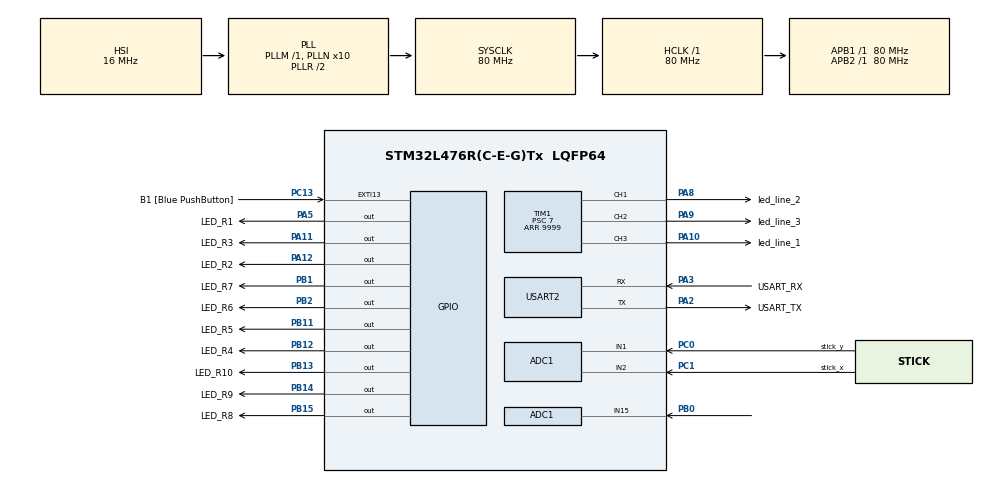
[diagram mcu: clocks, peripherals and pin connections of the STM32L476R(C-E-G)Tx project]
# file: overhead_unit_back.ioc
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ADC1.Channel-0\#ChannelRegularConversion=ADC_CHANNEL_1
ADC1.Channel-1\#ChannelRegularConversion=ADC_CHANNEL_2
ADC1.Channel-2\#ChannelRegularConversion=ADC_CHANNEL_15
ADC1.ClockPrescaler=ADC_CLOCK_ASYNC_DIV32
ADC1.ContinuousConvMode=ENABLE
ADC1.DMAContinuousRequests=ENABLE
ADC1.EOCSelection=ADC_EOC_SINGLE_CONV
ADC1.NbrOfConversion=3
ADC1.NbrOfConversionFlag=1
ADC1.OffsetNumber-0\#ChannelRegularConversion=ADC_OFFSET_NONE
ADC1.OffsetNumber-1\#ChannelRegularConversion=ADC_OFFSET_NONE
ADC1.OffsetNumber-2\#ChannelRegularConversion=ADC_OFFSET_NONE
ADC1.Overrun=ADC_OVR_DATA_OVERWRITTEN
ADC1.Rank-0\#ChannelRegularConversion=1
ADC1.Rank-1\#ChannelRegularConversion=2
ADC1.Rank-2\#ChannelRegularConversion=3
ADC1.SamplingTime-0\#ChannelRegularConversion=ADC_SAMPLETIME_47CYCLES_5
ADC1.SamplingTime-1\#ChannelRegularConversion=ADC_SAMPLETIME_47CYCLES_5
ADC1.SamplingTime-2\#ChannelRegularConversion=ADC_SAMPLETIME_47CYCLES_5
ADC1.master=1
Dma.ADC1.0.Direction=DMA_PERIPH_TO_MEMORY
Dma.ADC1.0.Instance=DMA1_Channel1
Dma.ADC1.0.MemDataAlignment=DMA_MDATAALIGN_HALFWORD
Dma.ADC1.0.MemInc=DMA_MINC_ENABLE
Dma.ADC1.0.Mode=DMA_CIRCULAR
Dma.ADC1.0.PeriphDataAlignment=DMA_PDATAALIGN_HALFWORD
Dma.ADC1.0.PeriphInc=DMA_PINC_DISABLE
Dma.ADC1.0.Priority=DMA_PRIORITY_MEDIUM
Dma.Request0=ADC1
Mcu.Family=STM32L4
Mcu.Name=STM32L476R(C-E-G)Tx
Mcu.Package=LQFP64
NVIC.DMA1_Channel1_IRQn=true\:0\:0\:false\:false\:true\:false\:true
NVIC.PriorityGroup=NVIC_PRIORITYGROUP_4
NVIC.TIM2_IRQn=true\:0\:0\:false\:false\:true\:true\:true
PA10.GPIO_Label=led_line_1
PA10.GPIO_Speed=GPIO_SPEED_FREQ_VERY_HIGH
PA10.Signal=S_TIM1_CH3
PA11.GPIO_Label=LED_R3
PA11.GPIO_Speed=GPIO_SPEED_FREQ_VERY_HIGH
PA11.Signal=GPIO_Output
PA12.GPIO_Label=LED_R2
PA12.GPIO_Speed=GPIO_SPEED_FREQ_VERY_HIGH
PA12.Signal=GPIO_Output
PA13\ (JTMS-SWDIO).GPIO_Label=TMS
PA13\ (JTMS-SWDIO).Mode=Serial_Wire
PA13\ (JTMS-SWDIO).Signal=SYS_JTMS-SWDIO
PA14\ (JTCK-SWCLK).GPIO_Label=TCK
PA14\ (JTCK-SWCLK).Mode=Serial_Wire
PA14\ (JTCK-SWCLK).Signal=SYS_JTCK-SWCLK
PA2.GPIO_Label=USART_TX
PA2.GPIO_Mode=GPIO_MODE_AF_PP
PA2.GPIO_PuPd=GPIO_NOPULL
PA2.GPIO_Speed=GPIO_SPEED_FREQ_VERY_HIGH
PA2.Mode=Asynchronous
PA2.Signal=USART2_TX
PA3.GPIO_Label=USART_RX
PA3.GPIO_Mode=GPIO_MODE_AF_PP
PA3.GPIO_PuPd=GPIO_NOPULL
PA3.GPIO_Speed=GPIO_SPEED_FREQ_VERY_HIGH
PA3.Mode=Asynchronous
PA3.Signal=USART2_RX
PA5.GPIO_Label=LED_R1
PA5.GPIO_Speed=GPIO_SPEED_FREQ_VERY_HIGH
PA5.Signal=GPIO_Output
PA8.GPIO_Label=led_line_2
PA8.GPIO_Speed=GPIO_SPEED_FREQ_VERY_HIGH
PA8.Signal=S_TIM1_CH1
PA9.GPIO_Label=led_line_3
PA9.GPIO_Speed=GPIO_SPEED_FREQ_VERY_HIGH
PA9.Signal=S_TIM1_CH2
PB0.Signal=ADCx_IN15
PB1.GPIO_Label=LED_R7
PB1.GPIO_Speed=GPIO_SPEED_FREQ_VERY_HIGH
PB1.Signal=GPIO_Output
PB11.GPIO_Label=LED_R5
PB11.GPIO_Speed=GPIO_SPEED_FREQ_VERY_HIGH
PB11.Signal=GPIO_Output
PB12.GPIO_Label=LED_R4
PB12.GPIO_Speed=GPIO_SPEED_FREQ_VERY_HIGH
PB12.Signal=GPIO_Output
PB13.GPIO_Label=LED_R10
PB13.GPIO_Speed=GPIO_SPEED_FREQ_VERY_HIGH
PB13.Signal=GPIO_Output
PB14.GPIO_Label=LED_R9
PB14.GPIO_Speed=GPIO_SPEED_FREQ_VERY_HIGH
PB14.Signal=GPIO_Output
PB15.GPIO_Label=LED_R8
PB15.GPIO_Speed=GPIO_SPEED_FREQ_VERY_HIGH
PB15.Signal=GPIO_Output
PB2.GPIO_Label=LED_R6
PB2.GPIO_Speed=GPIO_SPEED_FREQ_VERY_HIGH
PB2.Signal=GPIO_Output
PB3\ (JTDO-TRACESWO).GPIO_Label=SWO
PB3\ (JTDO-TRACESWO).Signal=SYS_JTDO-SWO
PC0.GPIO_Label=stick_y
PC0.Signal=ADCx_IN1
PC1.GPIO_Label=stick_x
PC1.Signal=ADCx_IN2
PC13.GPIO_Label=B1 [Blue PushButton]
PC13.GPIO_ModeDefaultEXTI=GPIO_MODE_IT_FALLING
PC13.GPIO_PuPd=GPIO_NOPULL
PC13.Signal=GPXTI13
PC14-OSC32_IN\ (PC14).Mode=LSE-External-Oscillator
PC14-OSC32_IN\ (PC14).Signal=RCC_OSC32_IN
PC15-OSC32_OUT\ (PC15).Mode=LSE-External-Oscillator
PC15-OSC32_OUT\ (PC15).Signal=RCC_OSC32_OUT
PH0-OSC_IN\ (PH0).Signal=RCC_OSC_IN
PH1-OSC_OUT\ (PH1).Signal=RCC_OSC_OUT
ProjectManager.HeapSize=0x200
ProjectManager.StackSize=0x400
ProjectManager.TargetToolchain=TrueSTUDIO
RCC.ADCFreq_Value=64000000
RCC.AHBFreq_Value=80000000
RCC.APB1Freq_Value=80000000
RCC.APB1TimFreq_Value=80000000
RCC.APB2Freq_Value=80000000
RCC.APB2TimFreq_Value=80000000
RCC.CortexFreq_Value=80000000
RCC.HCLKFreq_Value=80000000
RCC.HSE_VALUE=8000000
RCC.HSI_VALUE=16000000
RCC.MSI_VALUE=4000000
RCC.PLLN=10
RCC.PLLSourceVirtual=RCC_PLLSOURCE_HSI
RCC.PREFETCH_ENABLE=1
RCC.SYSCLKFreq_VALUE=80000000
RCC.SYSCLKSource=RCC_SYSCLKSOURCE_PLLCLK
RCC.USBFreq_Value=64000000
RCC.VCOOutputFreq_Value=160000000
SH.ADCx_IN1.0=ADC1_IN1,IN1-Single-Ended
SH.ADCx_IN15.0=ADC1_IN15,IN15-Single-Ended
SH.ADCx_IN2.0=ADC1_IN2,IN2-Single-Ended
SH.S_TIM1_CH1.0=TIM1_CH1,PWM Generation1 CH1
SH.S_TIM1_CH2.0=TIM1_CH2,PWM Generation2 CH2
SH.S_TIM1_CH3.0=TIM1_CH3,PWM Generation3 CH3
TIM1.Channel-PWM\ Generation1\ CH1=TIM_CHANNEL_1
TIM1.Channel-PWM\ Generation2\ CH2=TIM_CHANNEL_2
TIM1.Channel-PWM\ Generation3\ CH3=TIM_CHANNEL_3
TIM1.OCFastMode_PWM-PWM\ Generation2\ CH2=TIM_OCFAST_ENABLE
TIM1.OCFastMode_PWM-PWM\ Generation3\ CH3=TIM_OCFAST_ENABLE
TIM1.Period=9999
TIM1.Prescaler=7
TIM2.Period=999
TIM2.Prescaler=79
TIM2.TIM_MasterOutputTrigger=TIM_TRGO_UPDATE
USART2.VirtualMode-Asynchronous=VM_ASYNC
VP_TIM1_VS_ClockSourceINT.Mode=Internal
VP_TIM2_VS_ClockSourceINT.Mode=Internal
board=NUCLEO-L476RG

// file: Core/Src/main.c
/* USER CODE BEGIN Header */
/**
  ******************************************************************************
  * @file           : main.c
  * @brief          : Main program body
  ******************************************************************************
  * @attention
  *
  * <h2><center>&copy; Copyright (c) 2020 STMicroelectronics.
  * All rights reserved.</center></h2>
  *
  * This software component is licensed by ST under BSD 3-Clause license,
  * the "License"; You may not use this file except in compliance with the
  * License. You may obtain a copy of the License at:
  *                        opensource.org/licenses/BSD-3-Clause
  *
  ******************************************************************************
  */
/* USER CODE END Header */
#include "main.h"
#include "adc.h"
#include "dma.h"
#include "tim.h"
#include "usart.h"
#include "gpio.h"

/* USER CODE BEGIN Includes */
#include "math.h"
/* USER CODE END Includes */

/* USER CODE BEGIN PV */

uint16_t led_pins_array[] = {
		LED_R1_Pin, LED_R2_Pin, LED_R3_Pin, LED_R4_Pin, LED_R5_Pin,
		LED_R6_Pin, LED_R7_Pin, LED_R8_Pin, LED_R9_Pin, LED_R10_Pin
};

uint32_t led_gpios_array[] = {
		LED_R1_GPIO_Port, LED_R2_GPIO_Port, LED_R3_GPIO_Port,
		LED_R4_GPIO_Port, LED_R5_GPIO_Port, LED_R6_GPIO_Port,
		LED_R7_GPIO_Port, LED_R8_GPIO_Port, LED_R9_GPIO_Port, LED_R10_GPIO_Port

};

uint16_t calculation_matrix[3][10] = {
		{0, 0, 0, 0, 0, 0, 0, 0, 0, 0},
		{0, 0, 0, 0, 0, 0, 0, 0, 0, 0},
		{0, 0, 0, 0, 0, 0, 0, 0, 0, 0}
};

uint16_t led_matrix[3][10] = {
		{0, 0, 0, 0, 0, 0, 0, 0, 0, 0},
		{0, 0, 0, 0, 0, 0, 0, 0, 0, 0},
		{0, 0, 0, 0, 0, 0, 0, 0, 0, 0}
};

uint16_t adc_data[3] = {};

/* USER CODE END PV */

void SystemClock_Config(void);
/* USER CODE BEGIN PFP */

long map(long in_value, long in_min, long in_max, long out_min, long out_max);
void get_stick_position(uint16_t adc_x, uint16_t adc_y, uint8_t *pos_x, uint8_t *pos_y);
void get_led_spot_size(uint16_t adc_spot, float *led_spot_size);
void calculate_led_matrix(uint8_t pos_x, uint8_t pos_y, float spot_size);
void fill_new_matrix();

/* USER CODE END PFP */

int main(void)
{

  /* MCU Configuration--------------------------------------------------------*/

  /* Reset of all peripherals, Initializes the Flash interface and the Systick. */
  HAL_Init();

  /* Configure the system clock */
  SystemClock_Config();

  /* Initialize all configured peripherals */
  MX_GPIO_Init();
  MX_DMA_Init();
  MX_TIM1_Init();
  MX_TIM2_Init();
  MX_USART2_UART_Init();
  MX_ADC1_Init();
  /* USER CODE BEGIN 2 */

  HAL_TIM_Base_Start_IT(&htim2);

  HAL_TIM_PWM_Start(&htim1, TIM_CHANNEL_1);
  HAL_TIM_PWM_Start(&htim1, TIM_CHANNEL_2);
  HAL_TIM_PWM_Start(&htim1, TIM_CHANNEL_3);

  htim1.Instance->CCR1 = 0;
  htim1.Instance->CCR2 = 0;
  htim1.Instance->CCR3 = 0;

  HAL_ADC_Start_DMA(&hadc1, (uint32_t*) &adc_data, 3);

  HAL_Delay(200);

  for(int i = 0; i < 3; i++){
	  for(int j = 0; j < 10; j++){
		  led_matrix[i][j] = 9990;
		  HAL_Delay(10);
  		  led_matrix[i][j] = 0;
  		  HAL_Delay(10);
  	  }
  }

  /* USER CODE END 2 */

  /* Infinite loop */
  /* USER CODE BEGIN WHILE */
  while (1)
  {
	  uint8_t stick_x 	= 0;
	  uint8_t stick_y 	= 0;
	  float   spot_size = 0;

	  get_stick_position(adc_data[0], adc_data[1], &stick_x, &stick_y);

	  get_led_spot_size(adc_data[2], &spot_size);

	  calculate_led_matrix(stick_x, stick_y, spot_size);

	  HAL_Delay(2);

	  fill_new_matrix();

	  //htim1.Instance->CCR1 = 9990;
	  //htim1.Instance->CCR2 = 0;
	  //htim1.Instance->CCR3 = 9990;

    /* USER CODE END WHILE */

  }
}

void SystemClock_Config(void)
{
  RCC_OscInitTypeDef RCC_OscInitStruct = {0};
  RCC_ClkInitTypeDef RCC_ClkInitStruct = {0};
  RCC_PeriphCLKInitTypeDef PeriphClkInit = {0};

  /** Initializes the RCC Oscillators according to the specified parameters
  * in the RCC_OscInitTypeDef structure.
  */
  RCC_OscInitStruct.OscillatorType = RCC_OSCILLATORTYPE_HSI;
  RCC_OscInitStruct.HSIState = RCC_HSI_ON;
  RCC_OscInitStruct.HSICalibrationValue = RCC_HSICALIBRATION_DEFAULT;
  RCC_OscInitStruct.PLL.PLLState = RCC_PLL_ON;
  RCC_OscInitStruct.PLL.PLLSource = RCC_PLLSOURCE_HSI;
  RCC_OscInitStruct.PLL.PLLM = 1;
  RCC_OscInitStruct.PLL.PLLN = 10;
  RCC_OscInitStruct.PLL.PLLP = RCC_PLLP_DIV7;
  RCC_OscInitStruct.PLL.PLLQ = RCC_PLLQ_DIV2;
  RCC_OscInitStruct.PLL.PLLR = RCC_PLLR_DIV2;
  if (HAL_RCC_OscConfig(&RCC_OscInitStruct) != HAL_OK)
  {
    Error_Handler();
  }
  /** Initializes the CPU, AHB and APB buses clocks
  */
  RCC_ClkInitStruct.ClockType = RCC_CLOCKTYPE_HCLK|RCC_CLOCKTYPE_SYSCLK
                              |RCC_CLOCKTYPE_PCLK1|RCC_CLOCKTYPE_PCLK2;
  RCC_ClkInitStruct.SYSCLKSource = RCC_SYSCLKSOURCE_PLLCLK;
  RCC_ClkInitStruct.AHBCLKDivider = RCC_SYSCLK_DIV1;
  RCC_ClkInitStruct.APB1CLKDivider = RCC_HCLK_DIV1;
  RCC_ClkInitStruct.APB2CLKDivider = RCC_HCLK_DIV1;

  if (HAL_RCC_ClockConfig(&RCC_ClkInitStruct, FLASH_LATENCY_4) != HAL_OK)
  {
    Error_Handler();
  }
  PeriphClkInit.PeriphClockSelection = RCC_PERIPHCLK_USART2|RCC_PERIPHCLK_ADC;
  PeriphClkInit.Usart2ClockSelection = RCC_USART2CLKSOURCE_PCLK1;
  PeriphClkInit.AdcClockSelection = RCC_ADCCLKSOURCE_PLLSAI1;
  PeriphClkInit.PLLSAI1.PLLSAI1Source = RCC_PLLSOURCE_HSI;
  PeriphClkInit.PLLSAI1.PLLSAI1M = 1;
  PeriphClkInit.PLLSAI1.PLLSAI1N = 8;
  PeriphClkInit.PLLSAI1.PLLSAI1P = RCC_PLLP_DIV7;
  PeriphClkInit.PLLSAI1.PLLSAI1Q = RCC_PLLQ_DIV2;
  PeriphClkInit.PLLSAI1.PLLSAI1R = RCC_PLLR_DIV2;
  PeriphClkInit.PLLSAI1.PLLSAI1ClockOut = RCC_PLLSAI1_ADC1CLK;
  if (HAL_RCCEx_PeriphCLKConfig(&PeriphClkInit) != HAL_OK)
  {
    Error_Handler();
  }
  /** Configure the main internal regulator output voltage
  */
  if (HAL_PWREx_ControlVoltageScaling(PWR_REGULATOR_VOLTAGE_SCALE1) != HAL_OK)
  {
    Error_Handler();
  }
}

/* USER CODE BEGIN 4 */

long map(long in_value, long in_min, long in_max, long out_min, long out_max){

	return (in_value - in_min) * (out_max - out_min) / (in_max - in_min) + out_min;

}
//-------------------------

float map_float(long in_value, long in_min, long in_max, float out_min, float out_max){

	return (in_value - in_min) * (out_max - out_min) / (in_max - in_min) + out_min;

}
//-------------------------

void get_stick_position(uint16_t adc_x, uint16_t adc_y, uint8_t *pos_x, uint8_t *pos_y){

	*pos_x = map(adc_x, 0, 4095, 0, 10);
	//*pos_y = map(adc_y, 0, 4050, 0, 2);

	if(adc_y >= 2700) 	  				   *pos_y = 2;
	else if(adc_y < 2700 && adc_y >= 1350) *pos_y = 1;
	else 								   *pos_y = 0;
}
//-------------------------

void get_led_spot_size(uint16_t adc_spot, float *led_spot_size){

	*led_spot_size = map_float(adc_spot, 0, 4095, 0.1, 7);
}
//-------------------------

void calculate_led_matrix(uint8_t pos_x, uint8_t pos_y, float spot_size){

	#define led_diffusion 	1.8
	uint16_t led_max_bright = 9990; // (gets from TIM1 PWM value)
	uint8_t init_x = pos_x;
	uint8_t init_y = pos_y;

	uint16_t result = 0.0;
	uint8_t counter_x = 0;
	uint8_t counter_y = 0;

	// Left-to-right side (relatively to center)
	for(int i = init_x; i >= 0; i--){
		result = led_max_bright * exp(-counter_x*spot_size);
		calculation_matrix[0][i] = result;
		calculation_matrix[1][i] = result;
	    calculation_matrix[2][i] = result;
	    counter_x++;
	  }

	counter_x = 0;

	// Right-to-left side (relatively to center)
	for(uint8_t i = init_x; i <= 9; i++){
		result = led_max_bright * exp(-counter_x*spot_size);
		calculation_matrix[0][i] = result;
		calculation_matrix[1][i] = result;
		calculation_matrix[2][i] = result;
		counter_x++;
	}

	//return;

	switch(init_y){

		case 0:
		  for(int i = init_y; i <= 2; i++){
			for(int j = 0; j <= 9; j++){
				calculation_matrix[i][j] = calculation_matrix[i][j] * exp(-counter_y*spot_size);
			}
			counter_y++;
		  }
		  break;

		case 1:
		  for(int i = init_y; i >= 0; i--){
			for(int j = 0; j <= 9; j++){
				calculation_matrix[i][j] = calculation_matrix[i][j] * exp(-counter_y*spot_size);
			}
			counter_y++;
		  }

		  counter_y = 0;

		  for(int i = init_y; i <= 2; i++){
			for(int j = 0; j <= 9; j++){
				calculation_matrix[i][j] = calculation_matrix[i][j] * exp(-counter_y*spot_size);
			}
			counter_y++;
		  }
		  break;

		case 2:
		  for(int i = init_y; i >= 0; i--){
			for(int j = 0; j <= 9; j++){
				calculation_matrix[i][j] = calculation_matrix[i][j] * exp(-counter_y*spot_size);
			}
			counter_y++;
		  }
		  break;
	  }
}
//-------------------------

void fill_new_matrix(){

	for(int i = 0; i <= 2; i++){
		for(int j = 0; j <= 9; j++){
			led_matrix[i][j] = calculation_matrix[i][j];
		}
	}
}
//-------------------------

/* USER CODE END 4 */

void Error_Handler(void)
{
}

/************************ (C) COPYRIGHT STMicroelectronics *****END OF FILE****/
